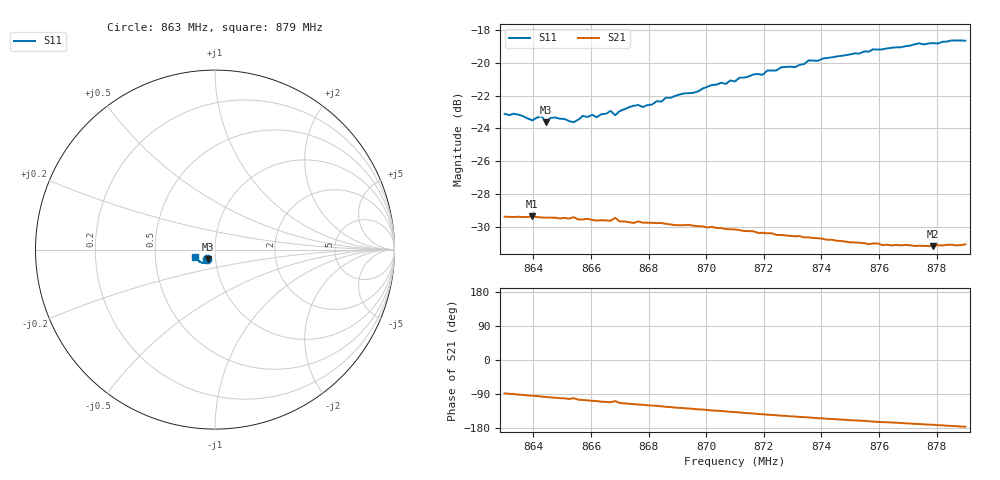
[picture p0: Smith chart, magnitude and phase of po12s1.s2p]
# HZ S RI R 50
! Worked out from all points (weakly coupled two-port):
!   101 points, 863 MHz to 879 MHz, reference 50 ohm
!   highest |S21| = -29.38 dB at 863.96 MHz (marker M1); lowest = -31.2 dB at 877.88 MHz (marker M2)
!   lowest |S11| = -23.6 dB at 864.44 MHz (marker M3), VSWR 1.14, Z = 46.2 - j5.04 ohm
!   |S11| at or under -10 dB: start of sweep to end of sweep
!   S12 and S22 are empty: the file has one direction only
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8.63e8  -0.0438 -0.0544  0.00129 -0.0339  0 0  0 0
8.6396e8  -0.0381 -0.0548  -0.00252 -0.0339  0 0  0 0
8.6428e8  -0.0375 -0.0576  -0.00396 -0.0335  0 0  0 0
8.6444e8  -0.037 -0.0544  -0.00445 -0.0334  0 0  0 0
8.6476e8  -0.0377 -0.0567  -0.00563 -0.0332  0 0  0 0
8.654e8  -0.0306 -0.0584  -0.00624 -0.0332  0 0  0 0
8.6572e8  -0.0349 -0.0594  -0.00888 -0.0321  0 0  0 0
8.662e8  -0.0349 -0.0586  -0.0105 -0.0313  0 0  0 0
8.6668e8  -0.0354 -0.0619  -0.012 -0.0307  0 0  0 0
8.6684e8  -0.0292 -0.0627  -0.0106 -0.0319  0 0  0 0
8.6732e8  -0.036 -0.0637  -0.014 -0.0295  0 0  0 0
8.6844e8  -0.0367 -0.0667  -0.0173 -0.0275  0 0  0 0
8.702e8  -0.0447 -0.0729  -0.0216 -0.023  0 0  0 0
8.71e8  -0.048 -0.0734  -0.0229 -0.0209  0 0  0 0
8.7116e8  -0.0501 -0.0749  -0.023 -0.0205  0 0  0 0
8.7196e8  -0.0549 -0.0737  -0.0242 -0.0182  0 0  0 0
8.7212e8  -0.0581 -0.0748  -0.0245 -0.0176  0 0  0 0
8.7308e8  -0.0628 -0.0739  -0.0253 -0.0152  0 0  0 0
8.7372e8  -0.0692 -0.0743  -0.0259 -0.0135  0 0  0 0
8.7644e8  -0.0924 -0.0617  -0.0268 -0.00723  0 0  0 0
8.7788e8  -0.1038 -0.0489  -0.0272 -0.00441  0 0  0 0
8.79e8  -0.1102 -0.0385  -0.0278 -0.00201  0 0  0 0
